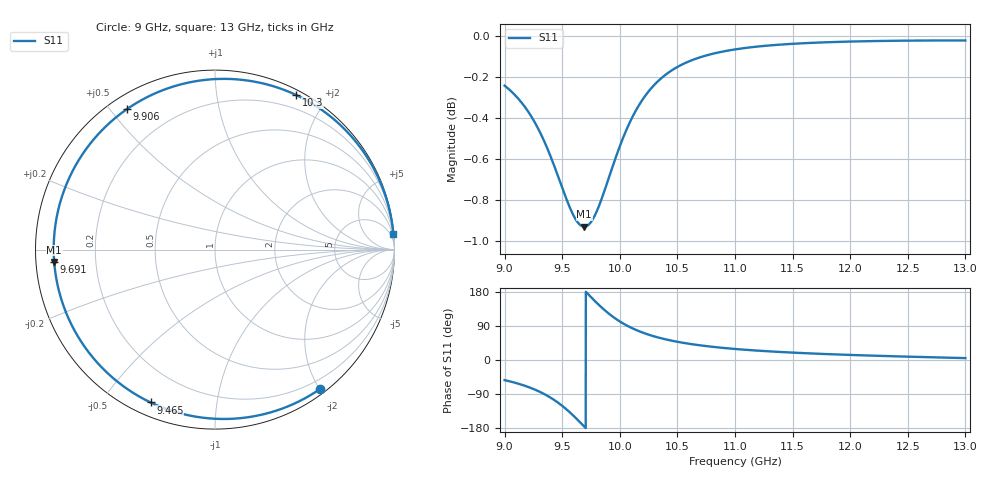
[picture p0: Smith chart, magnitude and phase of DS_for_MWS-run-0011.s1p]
! TOUCHSTONE file generated by CST DESIGN STUDIO
! Date and time: Tue Feb  4 14:04:26 2025
! Project name: C:\Work\MatlabApps\UnitCellOptimizationMatlab\CST\unitcell.cst
! Tree item: Tasks\Sweep1\SPara1\S-Parameters
! Header version: 2024
! Port assignment regex: !\s*Touchstone port\s*([0-9]+)\s*=\s*(CST MWS port|CST DES external port|CST DES block port)\s*(.+)\s* \(\"(.*)\"\)(\s*mode\s*([0-9]+))?.*
! Touchstone port assignment:
! Touchstone port 1 = CST DES external port 1 ("")
# GHz S MA R 50
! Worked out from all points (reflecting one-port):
!   4001 points, 9 GHz to 13 GHz, reference 50 ohm
!   lowest |S11| = -0.9 dB at 9.691 GHz (marker M1), VSWR 18.72, Z = 2.67 - j1.92 ohm
!   phase of S11 starts at -53 deg and turns -302 deg over the sweep
!   S11 on the Smith chart (normalised r, x): 9 GHz: 0.07, -2.00; 9.465 GHz: 0.06, -0.66; 9.691 GHz: 0.05, -0.04; 9.906 GHz: 0.05, +0.55; 10.3 GHz: 0.05, +1.65; 13 GHz: 1, +23
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9  0.9724 -53.1
9.125  0.9649 -63.0
9.244  0.9545 -75.7
9.368  0.9392 -93.9
9.465  0.9242 -112.9
9.5  0.9184 -121.0
9.544  0.9115 -132.1
9.589  0.9053 -144.5
9.642  0.9003 -160.3
9.691  0.8986 -175.6
9.737  0.9 169.9
9.785  0.9045 155.2
9.846  0.9133 137.6
9.906  0.9237 122.1
9.951  0.9317 111.7
10  0.94 101.7
10.066  0.9499 90.2
10.144  0.9595 78.9
10.218  0.9667 70.2
10.298  0.9727 62.4
10.393  0.9782 54.8
10.5  0.9826 48.0
10.718  0.9884 37.9
11  0.9923 29.1
11.5  0.9954 19.5
12  0.9967 13.3
12.5  0.9972 8.8
13  0.9973 5.0
